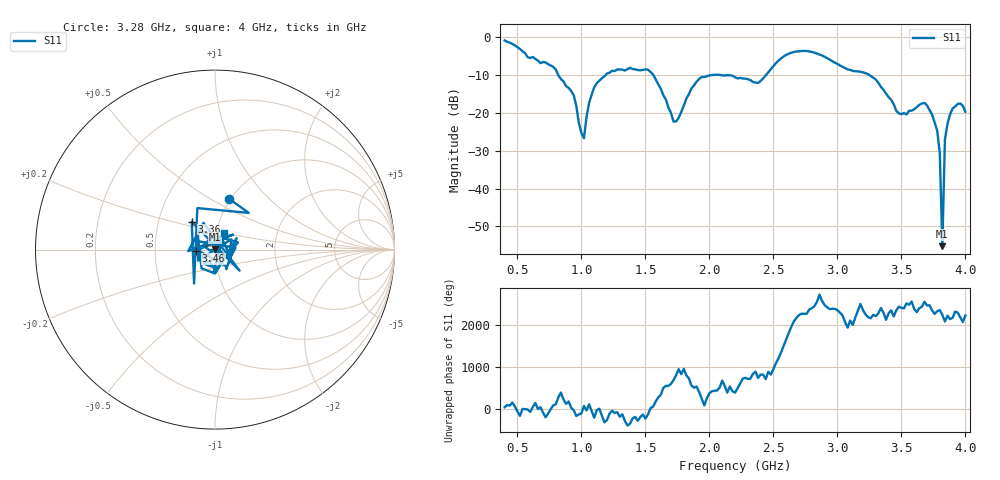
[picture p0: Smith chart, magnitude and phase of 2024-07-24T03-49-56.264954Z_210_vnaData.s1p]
!Created with skrf (http://scikit-rf.org).
# Hz S RI R 50.0
!freq ReS11 ImS11
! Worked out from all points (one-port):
!   181 points, 400 MHz to 4 GHz, reference 50 ohm
!   lowest |S11| = -55.2 dB at 3.82 GHz (marker M1), VSWR 1.00, Z = 50 + j0.169 ohm
!   |S11| at or under -10 dB: 819.6 MHz to 1.188 GHz (368.3 MHz wide, 36.7 % of centre); 1.563 GHz to 2.006 GHz (442.9 MHz wide, 24.8 % of centre); 3.252 GHz to end of sweep (the widest 3 of 5)
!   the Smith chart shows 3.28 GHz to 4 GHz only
!   S11 on the Smith chart (normalised r, x): 3.28 GHz: 0.98, +0.61; 3.36 GHz: 0.74, +0.24; 3.46 GHz: 0.81, -0.01; 4 GHz: 1.09, +0.20
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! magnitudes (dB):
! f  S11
! 400 MHz  -0.8
! 780 MHz  -7.8
! 860 MHz  -11.6
! 940 MHz  -15.3
! 1.02 GHz  -26.7
! 1.06 GHz  -17.4
! 1.1 GHz  -13.2
! 1.3 GHz  -8.5
! 1.52 GHz  -8.5
! 1.72 GHz  -22.3
! 1.76 GHz  -21.3
! 1.92 GHz  -11.0
! 2.2 GHz  -10.5
! 2.38 GHz  -12.0
! 2.66 GHz  -3.8
! 3.1 GHz  -8.6
! 3.28 GHz  -10.6
! 3.36 GHz  -13.9
! 3.46 GHz  -19.4
! 3.56 GHz  -19.4
! 3.68 GHz  -17.3
! 3.78 GHz  -24.7
! 3.8 GHz  -30.7
! 3.82 GHz  -55.2
! 3.84 GHz  -27.0
! 3.86 GHz  -22.9
! 3.94 GHz  -17.6
! 4 GHz  -19.7
